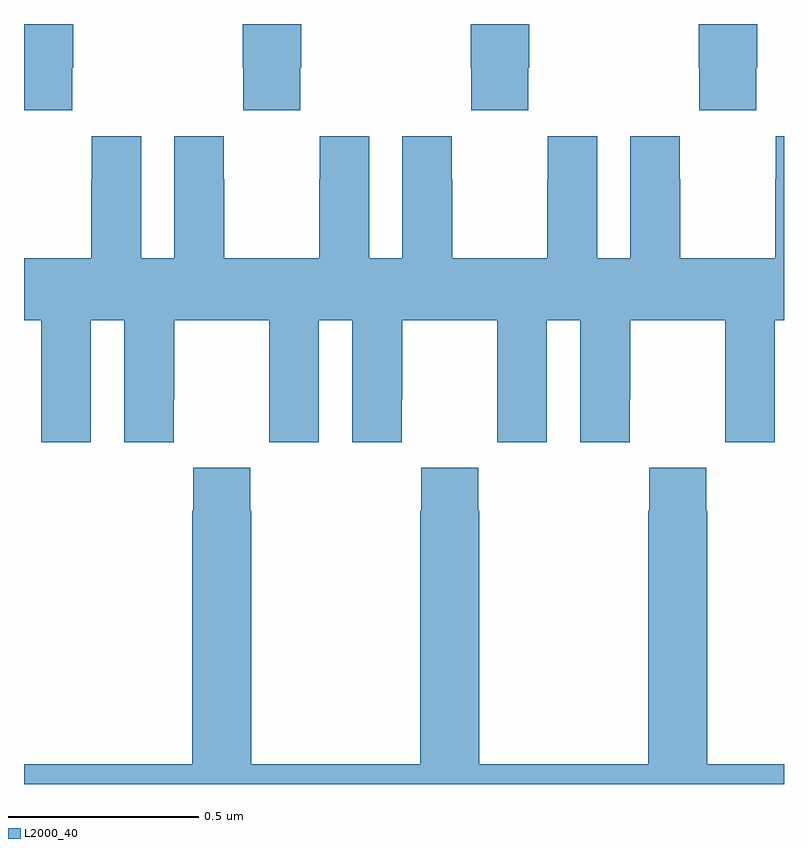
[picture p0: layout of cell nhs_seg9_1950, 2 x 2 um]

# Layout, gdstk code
import gdstk
lib = gdstk.Library(unit=1e-6, precision=1e-09)
def P(c, l, *ps):  # polygons
    for p in ps: c.add(gdstk.Polygon(p, *l))
L2000_40 = (2000, 40)

nhs_seg9_1950 = lib.new_cell('nhs_seg9_1950')
P(nhs_seg9_1950, L2000_40, [(135.175,1230.385),(135.177,1230.385),(135.177,1230.273),(135.327,1230.273),(135.327,1230.385),(135.33,1230.385),(135.33,1230.5),(135.175,1230.5)],
  [(135.927,1230.385),(135.93,1230.385),(135.93,1230.5),(135.775,1230.5),(135.775,1230.385),(135.777,1230.385),(135.777,1230.273),(135.927,1230.273)],
  [(134.127,1230.385),(134.13,1230.385),(134.13,1230.5),(134,1230.5),(134,1230.273),(134.127,1230.273)],
  [(134.727,1230.385),(134.73,1230.385),(134.73,1230.5),(134.575,1230.5),(134.575,1230.385),(134.577,1230.385),(134.577,1230.273),(134.727,1230.273)],
  [(134.176,1229.72),(134.264,1229.72),(134.264,1229.4),(134.394,1229.4),(134.394,1229.512),(134.395,1229.512),(134.395,1229.72),(134.645,1229.72),(134.645,1229.512),(134.646,1229.512),(134.646,1229.4),(134.776,1229.4),(134.776,1229.72),(134.864,1229.72),(134.864,1229.4),(134.994,1229.4),(134.994,1229.512),(134.995,1229.512),(134.995,1229.72),(135.245,1229.72),(135.245,1229.512),(135.246,1229.512),(135.246,1229.4),(135.376,1229.4),(135.376,1229.72),(135.464,1229.72),(135.464,1229.4),(135.594,1229.4),(135.594,1229.512),(135.595,1229.512),(135.595,1229.72),(135.845,1229.72),(135.845,1229.512),(135.846,1229.512),(135.846,1229.4),(135.976,1229.4),(135.976,1229.72),(136,1229.72),(136,1230.205),(135.978,1230.205),(135.978,1230.092),(135.977,1230.092),(135.977,1229.884),(135.727,1229.884),(135.727,1230.092),(135.726,1230.092),(135.726,1230.205),(135.596,1230.205),(135.596,1229.884),(135.508,1229.884),(135.508,1230.205),(135.378,1230.205),(135.378,1230.092),(135.377,1230.092),(135.377,1229.884),(135.127,1229.884),(135.127,1230.092),(135.126,1230.092),(135.126,1230.205),(134.996,1230.205),(134.996,1229.884),(134.908,1229.884),(134.908,1230.205),(134.778,1230.205),(134.778,1230.092),(134.777,1230.092),(134.777,1229.884),(134.527,1229.884),(134.527,1230.092),(134.526,1230.092),(134.526,1230.205),(134.396,1230.205),(134.396,1229.884),(134.308,1229.884),(134.308,1230.205),(134.178,1230.205),(134.178,1230.092),(134.177,1230.092),(134.177,1229.884),(134,1229.884),(134,1229.72),(134.045,1229.72),(134.045,1229.512),(134.046,1229.512),(134.046,1229.4),(134.176,1229.4)],
  [(135.045,1229.219),(135.043,1229.219),(135.043,1228.552),(134.598,1228.552),(134.598,1229.219),(134.595,1229.219),(134.595,1229.332),(134.445,1229.332),(134.445,1229.219),(134.443,1229.219),(134.443,1228.552),(134,1228.552),(134,1228.5),(136,1228.5),(136,1228.552),(135.798,1228.552),(135.798,1229.219),(135.795,1229.219),(135.795,1229.332),(135.645,1229.332),(135.645,1229.219),(135.643,1229.219),(135.643,1228.552),(135.198,1228.552),(135.198,1229.219),(135.195,1229.219),(135.195,1229.332),(135.045,1229.332)])

lib.write_gds('nhs_seg9_1950.gds')
